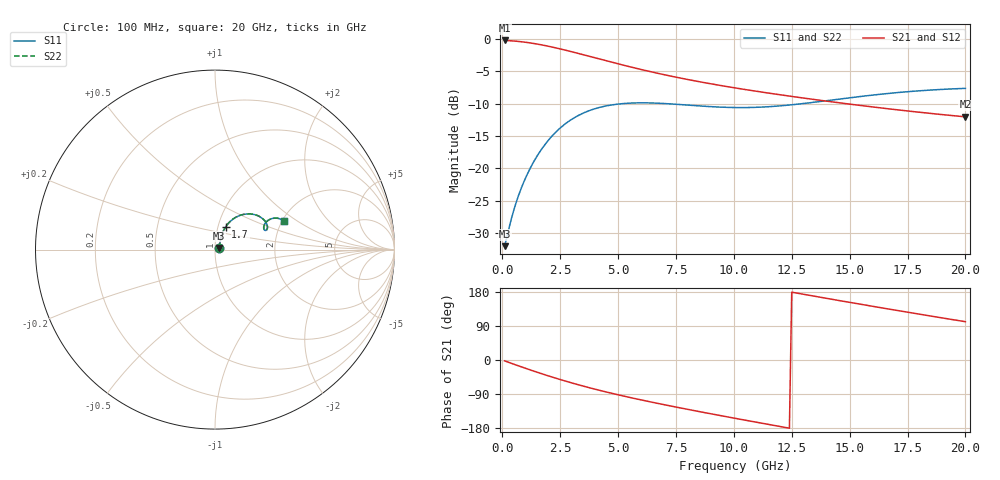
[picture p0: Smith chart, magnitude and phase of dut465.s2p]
! Touchstone file exported from HFSS 2024.1.0
!  File:  C:/UserFiles/LocalFiles/RDL_TSV_Batchsim/temp_RDL_TSV_465_1779728440.aedt
!  Generated:  01:14:06 AM May 26, 2026
!  Design:  RDL_TSV
!  Project:  temp_RDL_TSV_465_1779728440
!  Setup:  Setup1
!  Solution:  Sweep
! Variables:
!  dtsv = 8.48um
!  hbump = 3um
!  htsv = 80.96um
!  ldown = 531.6um
!  lrdl = 543.21um
!  p = 40
!  p1 = 56.95um
!  rhole = 10um
!  subl = 3767.64um
!  t = 450um
!  tdown = 3.31um
!  trdl = 3.24um
!  viad = 10um
!  wdown = 16.55um
!  wrdl = 18.7um
!  xbump = 18um
# GHz S MA R 50.000000
! Terminal data exported
! Port[1] = TM1_1_T1
! Port[2] = TM1_4_T1
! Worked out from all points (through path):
!   200 points, 100 MHz to 20 GHz, reference 50 ohm
!   highest |S21| = -0.21 dB at 100 MHz (marker M1); lowest = -12.0 dB at 20 GHz (marker M2)
!   group delay of S21, straight-line fit = 33.9 ps
!   lowest |S11| = -32.0 dB at 100 MHz (marker M3), VSWR 1.05, Z = 52.4 + j0.876 ohm
!   |S11| at or under -10 dB: start of sweep to 5.129 GHz; 7.17 GHz to 12.92 GHz (5.75 GHz wide, 57.2 % of centre)
!   |S22| runs from -32.0 to -7.6 dB; largest |S21 - S12| = 1.5e-14
!   S11 on the Smith chart (normalised r, x): 100 MHz: 1.05, +0.02; 1.7 GHz: 1.09, +0.28; 20 GHz: 2.05, +0.78
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0.1  0.02504 19.5  0.9762 -2.3  0.9762 -2.3  0.02504 19.5
! Gamma 0 0 0 0
! Port Impedance 50 0 50 0
0.5  0.04778 54.1  0.9668 -11.2  0.9668 -11.2  0.04777 54.1
0.8  0.06883 62.0  0.9551 -17.6  0.9551 -17.6  0.06882 62.0
1.2  0.09981 65.6  0.9347 -26.0  0.9347 -26.0  0.09982 65.6
1.7  0.1411 64.8  0.9023 -36.2  0.9023 -36.2  0.1412 64.9
2.1  0.1741 62.1  0.8723 -44.1  0.8723 -44.1  0.1742 62.2
2.6  0.2127 57.4  0.8318 -53.4  0.8318 -53.4  0.2129 57.5
3  0.2398 53.2  0.7985 -60.5  0.7985 -60.5  0.24 53.3
3.5  0.2679 47.8  0.7571 -69.0  0.7571 -69.0  0.2683 47.9
4.3  0.2993 39.9  0.694 -81.6  0.694 -81.6  0.2998 40.0
5.1  0.3159 33.2  0.6372 -93.2  0.6372 -93.2  0.3165 33.3
5.9  0.3213 28.0  0.5875 -104.1  0.5875 -104.1  0.3221 28.0
6.8  0.3189 23.8  0.5396 -115.6  0.5396 -115.6  0.3197 23.9
7.6  0.3126 21.6  0.5034 -125.4  0.5034 -125.4  0.3134 21.7
8.4  0.3052 20.7  0.4721 -134.9  0.4721 -134.9  0.3061 20.7
10.1  0.2955 22.2  0.418 -154.4  0.418 -154.4  0.2964 22.2
11.7  0.3016 25.6  0.3777 -172.3  0.3777 -172.3  0.3024 25.6
13.4  0.3237 28.4  0.3424 169.2  0.3424 169.2  0.3242 28.3
15  0.3517 28.8  0.3142 152.1  0.3142 152.1  0.352 28.8
16.7  0.3804 27.5  0.2887 134.4  0.2887 134.4  0.3807 27.4
18.3  0.4017 25.2  0.2684 118.1  0.2684 118.1  0.4017 25.1
20  0.4159 22.3  0.2505 101.1  0.2505 101.1  0.4159 22.3
